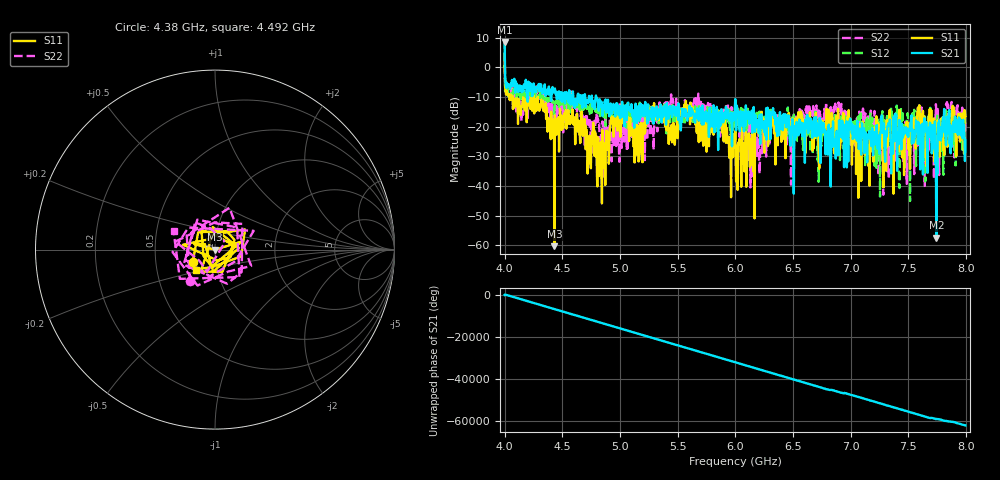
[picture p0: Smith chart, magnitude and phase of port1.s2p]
# Hz S RI R 50
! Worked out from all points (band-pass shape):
!   1000 points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, 4 GHz to 7.996 GHz, reference 50 ohm
!   highest |S21| = 8.63 dB at 4 GHz (marker M1); lowest = -57.4 dB at 7.744 GHz (marker M2)
!   |S21| within 3 dB of the highest: start of sweep to 4.001064 GHz
!   lowest |S11| = -60.3 dB at 4.432 GHz (marker M3), VSWR 1.00, Z = 49.9 - j0.0758 ohm
!   |S11| at or under -10 dB: 4.068 GHz to 4.251 GHz (183.1 MHz wide, 4.4 % of centre); 4.252 GHz to 4.288 GHz (35.55 MHz wide, 0.833 % of centre); 4.288 GHz to end of sweep (the widest 3 of 6)
!   |S22| runs from -42.9 to 9.1 dB; largest |S21 - S12| = 4.3
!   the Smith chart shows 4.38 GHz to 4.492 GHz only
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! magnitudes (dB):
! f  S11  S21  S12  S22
! 4 GHz  1.9  8.6  5.1  9.1
! 4.14 GHz  -16.0  -6.3  -10.6  -13.6
! 4.284 GHz  -12.2  -6.5  -11.0  -8.2
! 4.432 GHz  -60.3  -7.9  -15.9  -18.3
! 4.668 GHz  -14.8  -12.1  -15.1  -19.1
! 4.824 GHz  -30.2  -10.7  -15.5  -26.2
! 4.94 GHz  -16.9  -12.6  -18.8  -21.7
! 5.176 GHz  -28.4  -17.1  -16.1  -17.4
! 5.332 GHz  -14.7  -14.2  -16.0  -13.9
! 5.864 GHz  -17.8  -16.4  -15.4  -19.2
! 6 GHz  -21.6  -10.6  -14.7  -10.2
! 6.152 GHz  -23.6  -18.3  -15.6  -22.2
! 6.328 GHz  -17.9  -13.7  -15.9  -17.7
! 6.5 GHz  -17.2  -19.2  -19.2  -33.1
! 6.664 GHz  -19.4  -21.4  -19.2  -14.2
! 6.988 GHz  -21.4  -21.0  -23.9  -18.7
! 7.056 GHz  -33.4  -24.7  -23.8  -17.1
! 7.236 GHz  -20.3  -27.5  -17.6  -21.9
! 7.332 GHz  -22.0  -19.6  -20.1  -37.7
! 7.744 GHz  -29.9  -57.4  -18.2  -14.6
! 7.8 GHz  -16.8  -17.4  -23.2  -19.5
! 7.996 GHz  -16.4  -24.6  -19.1  -19.0
